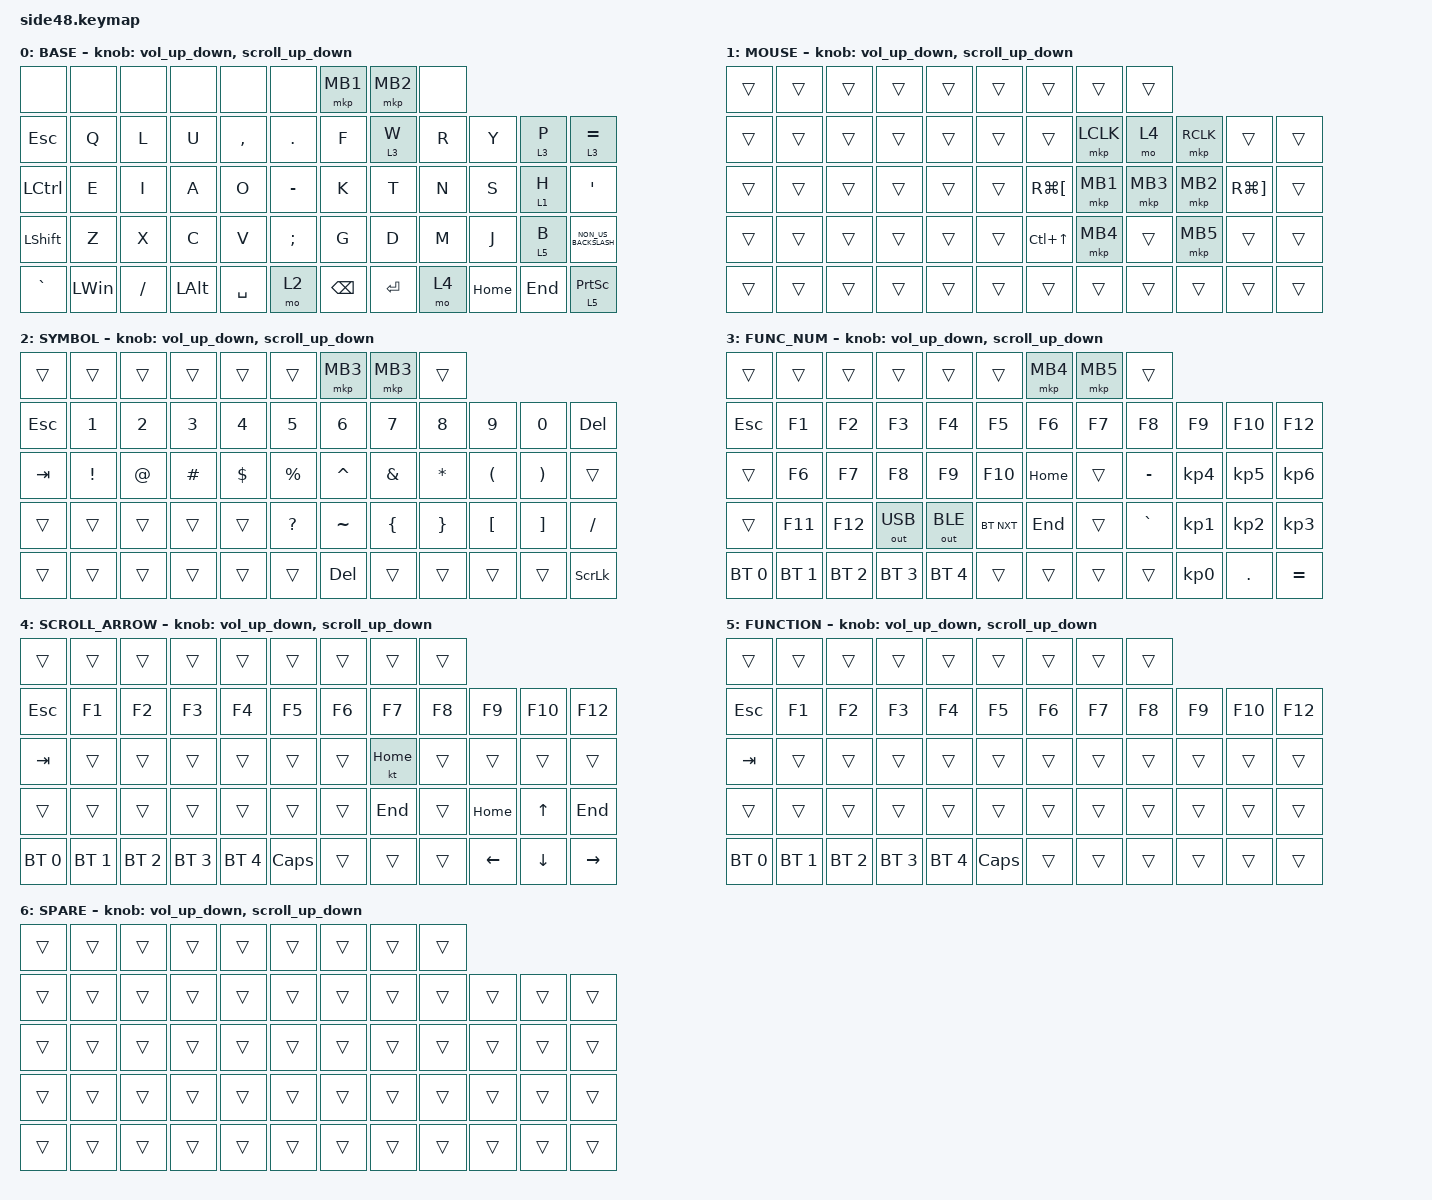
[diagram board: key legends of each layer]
#include <input/processors.dtsi>
#include <dt-bindings/zmk/input_transform.h>
#include <zephyr/dt-bindings/input/input-event-codes.h>
#include <behaviors.dtsi>
#include <dt-bindings/zmk/bt.h>
#include <dt-bindings/zmk/keys.h>
#include <dt-bindings/zmk/outputs.h>
#include <dt-bindings/zmk/pointing.h>

// キー配置は ZEN (hayawo/zen-firmware config/keymap.keymap) に合わせている。
// 左手は左下から揃えて配置。ZEN 左手の内側 7 列目 (&lt 3 PRINTSCREEN, Tab) は
// 右手へ移動。右手 BASE は実機のキーキャップどおり:
//   F W R Y P =  /  K T N S H '  /  G D M J B NUBS  /  BS Enter Tab Home End PrtSc
//   (W 長押し=L3, T 長押し=L4, H 長押し=L1, B 長押し=L5, PrtSc 長押し=L3)
// 他のレイヤーの右手は ZEN を右下から揃えて配置。
// 最上段の 9 個のうち実在するのは右手のマウスボタン 2 個 (上側=左クリック,
// 下側=右クリック) のみ。それ以外は未使用のため &none。
// レイヤー3 では上側=戻る、下側=進む。
//
// レイヤー: 0 BASE / 1 MOUSE (H 長押し) / 2 SYMBOL / 3 FUNC_NUM /
//           4 SCROLL_ARROW (T 長押しでトラックボールがスクロール) / 5 FUNCTION / 6 予備
// エンコーダーのスクロール量 (LiTom と同じ)

#undef ZMK_POINTING_DEFAULT_SCRL_VAL

#define ZMK_POINTING_DEFAULT_SCRL_VAL 80

&mt {
    flavor = "balanced";
    quick-tap-ms = <0>;
};

/ {
    combos {
        compatible = "zmk,combos";

        // ZEN と同じ: SYMBOL レイヤーで V + ; 同時押しで BT_CLR

        bt_clear {
            bindings = <&bt BT_CLR>;
            key-positions = <37 38>;
            layers = <2>;
        };
    };

    behaviors {
        // エンコーダー
        //   左: 音量 / 右: 縦スクロール
        //   回転の向きは実機で確認して LiTom の設定から反転済み。

        vol_up_down: behavior_sensor_rotate_volume_up_down {
            compatible = "zmk,behavior-sensor-rotate";
            #sensor-binding-cells = <0>;
            bindings = <&kp C_VOLUME_DOWN>, <&kp C_VOLUME_UP>;

            tap-ms = <20>;
        };

        scroll_up_down: behavior_sensor_rotate_mouse_wheel_up_down {
            compatible = "zmk,behavior-sensor-rotate";
            #sensor-binding-cells = <0>;
            bindings = <&msc SCRL_UP>, <&msc SCRL_DOWN>;

            tap-ms = <20>;
        };
    };

    keymap {
        compatible = "zmk,keymap";

        layer_0 {
            display-name = "BASE";
            bindings = <
&none             &none         &none      &none         &none      &none            &mkp MB1       &mkp MB2   &none
&kp ESC           &kp Q         &kp L      &kp U         &kp COMMA  &kp PERIOD       &kp F          &lt 3 W    &kp R  &kp Y     &lt 3 P  &lt 3 EQUAL
&kp LEFT_CONTROL  &kp E         &kp I      &kp A         &kp O      &kp MINUS        &kp K          &kp T      &kp N  &kp S     &lt 1 H  &kp SQT
&kp LSHFT         &kp Z         &kp X      &kp C         &kp V      &kp SEMICOLON    &kp G          &kp D      &kp M  &kp J     &lt 5 B  &kp NON_US_BACKSLASH
&kp GRAVE         &kp LEFT_WIN  &kp SLASH  &kp LEFT_ALT  &kp SPACE  &mo 2            &kp BACKSPACE  &kp ENTER  &mo 4  &kp HOME  &kp END  &lt 5 PRINTSCREEN
            >;

            sensor-bindings = <&vol_up_down &scroll_up_down>;
        };

        layer_1 {
            display-name = "MOUSE";
            bindings = <
&trans  &trans  &trans  &trans  &trans  &trans    &trans                &trans     &trans
&trans  &trans  &trans  &trans  &trans  &trans    &trans                &mkp LCLK  &mo 4     &mkp RCLK  &trans                 &trans
&trans  &trans  &trans  &trans  &trans  &trans    &kp RG(LEFT_BRACKET)  &mkp MB1   &mkp MB3  &mkp MB2   &kp RG(RIGHT_BRACKET)  &trans
&trans  &trans  &trans  &trans  &trans  &trans    &kp LC(UP_ARROW)      &mkp MB4   &trans    &mkp MB5   &trans                 &trans
&trans  &trans  &trans  &trans  &trans  &trans    &trans                &trans     &trans    &trans     &trans                 &trans
            >;

            sensor-bindings = <&vol_up_down &scroll_up_down>;
        };

        layer_2 {
            display-name = "SYMBOL";
            bindings = <
&trans      &trans    &trans  &trans    &trans      &trans          &mkp MB3   &mkp MB3        &trans
&kp ESCAPE  &kp N1    &kp N2  &kp N3    &kp N4      &kp N5          &kp N6     &kp N7          &kp N8           &kp N9                &kp N0                 &kp DELETE
&kp TAB     &kp EXCL  &kp AT  &kp HASH  &kp DOLLAR  &kp PRCNT       &kp CARET  &kp AMPERSAND   &kp ASTRK        &kp LEFT_PARENTHESIS  &kp RIGHT_PARENTHESIS  &trans
&trans      &trans    &trans  &trans    &trans      &kp QUESTION    &kp TILDE  &kp LEFT_BRACE  &kp RIGHT_BRACE  &kp LEFT_BRACKET      &kp RIGHT_BRACKET      &kp SLASH
&trans      &trans    &trans  &trans    &trans      &trans          &kp DEL    &trans          &trans           &trans                &trans                 &kp SCROLLLOCK
            >;

            sensor-bindings = <&vol_up_down &scroll_up_down>;
        };

        layer_3 {
            display-name = "FUNC_NUM";
            bindings = <
&trans        &trans        &trans        &trans        &trans        &trans        &mkp MB4  &mkp MB5  &trans
&kp ESCAPE    &kp F1        &kp F2        &kp F3        &kp F4        &kp F5        &kp F6    &kp F7    &kp F8     &kp F9           &kp F10          &kp F12
&trans        &kp F6        &kp F7        &kp F8        &kp F9        &kp F10       &kp HOME  &trans    &kp MINUS  &kp KP_NUMBER_4  &kp KP_NUMBER_5  &kp KP_NUMBER_6
&trans        &kp F11       &kp F12       &out OUT_USB  &out OUT_BLE  &bt BT_NXT    &kp END   &trans    &kp GRAVE  &kp KP_NUMBER_1  &kp KP_NUMBER_2  &kp KP_NUMBER_3
&bt BT_SEL 0  &bt BT_SEL 1  &bt BT_SEL 2  &bt BT_SEL 3  &bt BT_SEL 4  &trans        &trans    &trans    &trans     &kp KP_NUMBER_0  &kp DOT          &kp EQUAL
            >;

            sensor-bindings = <&vol_up_down &scroll_up_down>;
        };

        layer_4 {
            display-name = "SCROLL_ARROW";
            bindings = <
&trans        &trans        &trans        &trans        &trans        &trans          &trans  &trans    &trans
&kp ESCAPE    &kp F1        &kp F2        &kp F3        &kp F4        &kp F5          &kp F6  &kp F7    &kp F8  &kp F9          &kp F10         &kp F12
&kp TAB       &trans        &trans        &trans        &trans        &trans          &trans  &kt HOME  &trans  &trans          &trans          &trans
&trans        &trans        &trans        &trans        &trans        &trans          &trans  &kp END   &trans  &kp HOME        &kp UP_ARROW    &kp END
&bt BT_SEL 0  &bt BT_SEL 1  &bt BT_SEL 2  &bt BT_SEL 3  &bt BT_SEL 4  &kp CAPSLOCK    &trans  &trans    &trans  &kp LEFT_ARROW  &kp DOWN_ARROW  &kp RIGHT_ARROW
            >;

            sensor-bindings = <&vol_up_down &scroll_up_down>;
        };

        layer_5 {
            display-name = "FUNCTION";
            bindings = <
&trans        &trans        &trans        &trans        &trans        &trans          &trans  &trans  &trans
&kp ESC       &kp F1        &kp F2        &kp F3        &kp F4        &kp F5          &kp F6  &kp F7  &kp F8  &kp F9  &kp F10  &kp F12
&kp TAB       &trans        &trans        &trans        &trans        &trans          &trans  &trans  &trans  &trans  &trans   &trans
&trans        &trans        &trans        &trans        &trans        &trans          &trans  &trans  &trans  &trans  &trans   &trans
&bt BT_SEL 0  &bt BT_SEL 1  &bt BT_SEL 2  &bt BT_SEL 3  &bt BT_SEL 4  &kp CAPSLOCK    &trans  &trans  &trans  &trans  &trans   &trans
            >;

            sensor-bindings = <&vol_up_down &scroll_up_down>;
        };

        layer_6 {
            display-name = "SPARE";
            bindings = <
&trans  &trans  &trans  &trans  &trans  &trans    &trans  &trans  &trans
&trans  &trans  &trans  &trans  &trans  &trans    &trans  &trans  &trans  &trans  &trans  &trans
&trans  &trans  &trans  &trans  &trans  &trans    &trans  &trans  &trans  &trans  &trans  &trans
&trans  &trans  &trans  &trans  &trans  &trans    &trans  &trans  &trans  &trans  &trans  &trans
&trans  &trans  &trans  &trans  &trans  &trans    &trans  &trans  &trans  &trans  &trans  &trans
            >;

            sensor-bindings = <&vol_up_down &scroll_up_down>;
        };
    };
};
